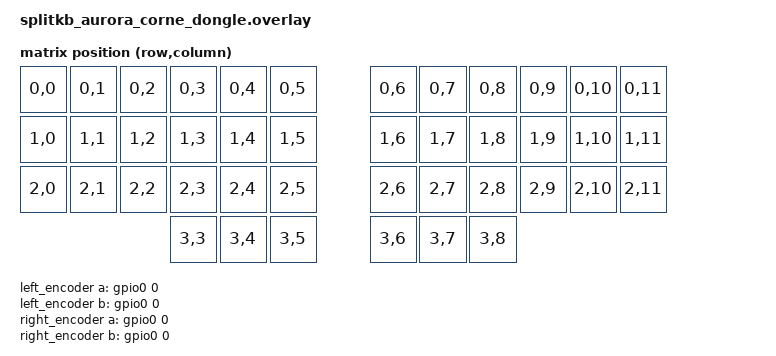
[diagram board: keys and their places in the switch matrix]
/*
 * splitkb Aurora Corne dongle (e.g. Prospector on a XIAO nRF52840).
 *
 * No keys of its own: a mock kscan stands in, and the matrix transform and
 * sensor list mirror ZMK's splitkb_aurora_corne.dtsi (its 6-column transform,
 * the one the keymap uses) so key positions and encoder indices reported by
 * the halves line up with the shared keymap.
 */

#include <dt-bindings/zmk/matrix_transform.h>

/ {
    chosen {
        zmk,kscan = &mock_kscan;
        zmk,matrix-transform = &default_transform;
    };

    mock_kscan: mock_kscan_0 {
        compatible = "zmk,kscan-mock";
        columns = <0>;
        rows = <0>;
        events = <0>;
    };

    default_transform: keymap_transform_0 {
        compatible = "zmk,matrix-transform";
        columns = <12>;
        rows = <4>;
        map = <
RC(0,0) RC(0,1) RC(0,2) RC(0,3) RC(0,4) RC(0,5)  RC(0,6) RC(0,7) RC(0,8) RC(0,9) RC(0,10) RC(0,11)
RC(1,0) RC(1,1) RC(1,2) RC(1,3) RC(1,4) RC(1,5)  RC(1,6) RC(1,7) RC(1,8) RC(1,9) RC(1,10) RC(1,11)
RC(2,0) RC(2,1) RC(2,2) RC(2,3) RC(2,4) RC(2,5)  RC(2,6) RC(2,7) RC(2,8) RC(2,9) RC(2,10) RC(2,11)
                        RC(3,3) RC(3,4) RC(3,5)  RC(3,6) RC(3,7) RC(3,8)
        >;
    };

    /*
     * Placeholder encoders, disabled: the real ones live on the halves.
     * Only their order in &sensors matters (same as splitkb_aurora_corne.dtsi).
     * The GPIOs are never configured.
     */
    left_encoder: left_encoder {
        compatible = "alps,ec11";
        a-gpios = <&gpio0 0 GPIO_ACTIVE_HIGH>;
        b-gpios = <&gpio0 0 GPIO_ACTIVE_HIGH>;
        steps = <80>;
        status = "disabled";
    };
    right_encoder: right_encoder {
        compatible = "alps,ec11";
        a-gpios = <&gpio0 0 GPIO_ACTIVE_HIGH>;
        b-gpios = <&gpio0 0 GPIO_ACTIVE_HIGH>;
        steps = <80>;
        status = "disabled";
    };

    sensors: sensors {
        compatible = "zmk,keymap-sensors";
        sensors = <&left_encoder &right_encoder>;
        triggers-per-rotation = <20>;
    };
};

/* touch on the Prospector's screen, if its four wires are connected */
#include <prospector_touch.dtsi>
